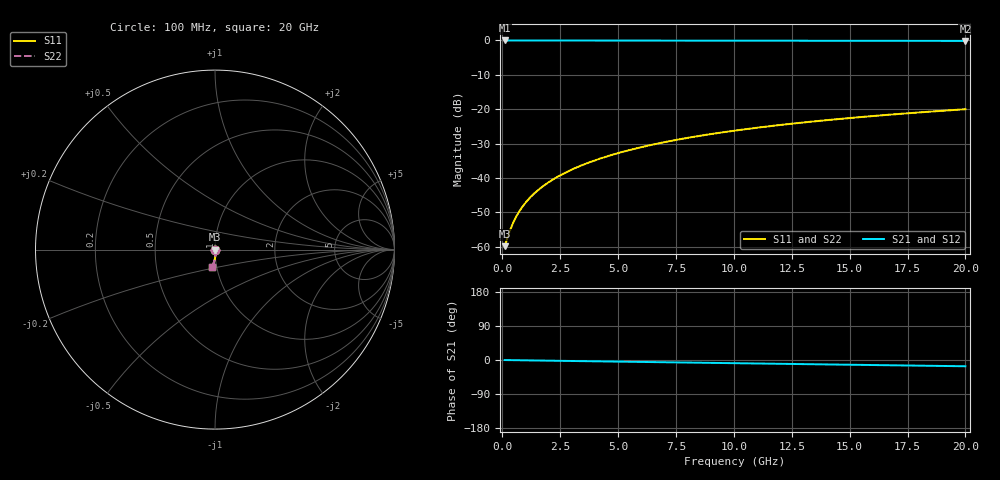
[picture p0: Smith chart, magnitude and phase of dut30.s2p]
! Touchstone file exported from HFSS 2026.1.0
!  File:  C:/ffzhzh/LocalFiles/Ansys_Project_Files/temp_train_TMRDL_30_1782880491_42304.aedt
!  Generated:  12:36:00 PM Jul  1, 2026
!  Design:  TMRDL
!  Project:  temp_train_TMRDL_30_1782880491_42304
! Variables:
!  h_bsmrdl = 2um
!  h_ox = 20um
!  h_rdl = 5um
!  h_sub = 80um
!  h_tmrdl = 5.17um
!  h_tsv = 80um
!  h_via = 3um
!  l_bsmrdl = 300um
!  l_sub = 671.6um
!  l_tmrdl = 271.6um
!  m_sub = 200um
!  pitch = 26.17um
!  r_tsv = 6um
!  s_tmrdl = 10um
!  w_bsmrdl = 18um
!  w_sub = 500um
!  w_tmrdl = 23.99um
!  x_tsv_center1 = 283.595um
!  x_tsv_center2 = 601.595um
!  x_tsv_center3 = 897.185um
!  x_tsv_center4 = 1215.185um
!  x_tsv_center5 = 1510.775um
!  x_tsv_center6 = 1828.775um
# GHz S MA R 50.000000
! Terminal data exported
! Port[1] = TM_RDL1_1_T1
! Port[2] = TM_RDL1_1_T2
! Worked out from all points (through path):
!   200 points, 100 MHz to 20 GHz, reference 50 ohm
!   highest |S21| = -0.01 dB at 100 MHz (marker M1); lowest = -0.1 dB at 20 GHz (marker M2)
!   group delay of S21, straight-line fit = 2.28 ps
!   lowest |S11| = -59.8 dB at 100 MHz (marker M3), VSWR 1.00, Z = 50.1 - j0.0111 ohm
!   |S11| at or under -10 dB: start of sweep to end of sweep
!   |S22| runs from -59.8 to -20.0 dB; largest |S21 - S12| = 3.5e-15
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0.1  0.001019 -6.2  0.999 -0.1  0.999 -0.1  0.001019 -6.2
! Gamma 0 0 0 0
! Port Impedance 50 0 50 0
0.3  0.001609 -27.5  0.9986 -0.3  0.9986 -0.3  0.001609 -27.5
0.4  0.001967 -36.9  0.9984 -0.4  0.9984 -0.4  0.001967 -36.9
0.6  0.002731 -50.0  0.9982 -0.6  0.9982 -0.6  0.002731 -50.0
0.7  0.003128 -54.6  0.9982 -0.6  0.9982 -0.6  0.003128 -54.6
0.9  0.003939 -61.1  0.998 -0.8  0.998 -0.8  0.003939 -61.1
1.2  0.005189 -67.2  0.9979 -1.1  0.9979 -1.1  0.005189 -67.2
1.4  0.006039 -69.9  0.9978 -1.2  0.9978 -1.2  0.006039 -69.9
1.7  0.007337 -72.8  0.9976 -1.5  0.9976 -1.5  0.007337 -72.8
2.2  0.009555 -75.8  0.9973 -1.9  0.9973 -1.9  0.009555 -75.8
2.8  0.0123 -78.1  0.9969 -2.4  0.9969 -2.4  0.0123 -78.1
3.5  0.01561 -80.0  0.9964 -3.0  0.9964 -3.0  0.01561 -80.0
4.2  0.01901 -81.5  0.9958 -3.6  0.9958 -3.6  0.01901 -81.5
5  0.02299 -82.9  0.9952 -4.3  0.9952 -4.3  0.02299 -82.9
5.9  0.02753 -84.4  0.9945 -5.0  0.9945 -5.0  0.02753 -84.4
6.8  0.03212 -85.8  0.9939 -5.8  0.9939 -5.8  0.03212 -85.8
8.3  0.03983 -87.9  0.9929 -7.0  0.9929 -7.0  0.03983 -87.9
10.1  0.04913 -90.1  0.9916 -8.5  0.9916 -8.5  0.04913 -90.1
11.7  0.05739 -92.0  0.9905 -9.8  0.9905 -9.8  0.0574 -92.0
13.4  0.06616 -93.9  0.9893 -11.2  0.9893 -11.2  0.06617 -93.9
16.7  0.08311 -97.3  0.9869 -13.9  0.9869 -13.9  0.08312 -97.3
20  0.0999 -100.5  0.9843 -16.5  0.9843 -16.5  0.09991 -100.5
